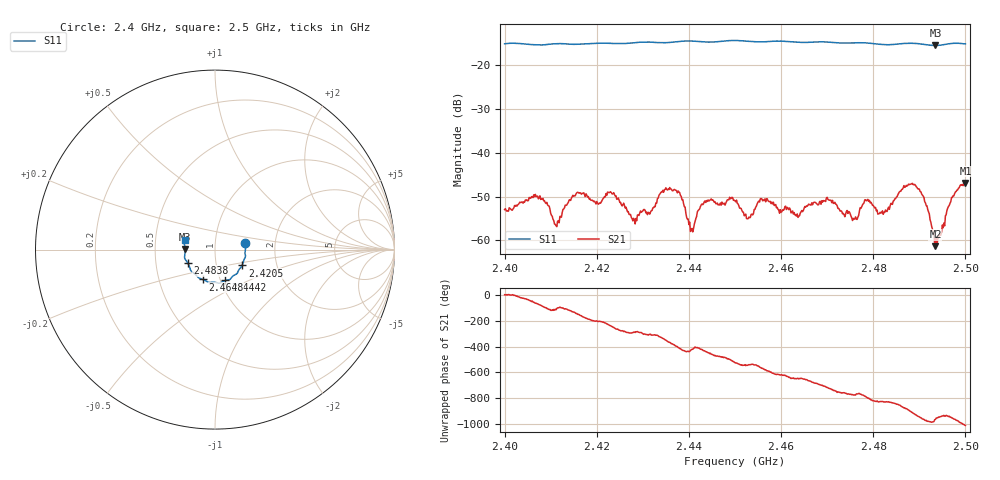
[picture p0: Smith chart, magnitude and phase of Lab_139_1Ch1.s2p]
# Hz S RI R 50
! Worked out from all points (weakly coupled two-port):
!   601 points, 2.4 GHz to 2.5 GHz, reference 50 ohm
!   highest |S21| = -46.88 dB at 2.5 GHz (marker M1); lowest = -61.3 dB at 2.4935 GHz (marker M2)
!   lowest |S11| = -15.6 dB at 2.4935 GHz (marker M3), VSWR 1.40, Z = 35.8 + j0.128 ohm
!   |S11| at or under -10 dB: start of sweep to end of sweep
!   S12 and S22 are empty: the file has one direction only
!   S11 on the Smith chart (normalised r, x): 2.4 GHz: 1.40, +0.11; 2.4205 GHz: 1.33, -0.24; 2.4442 GHz: 1.05, -0.37; 2.4648 GHz: 0.83, -0.28; 2.4838 GHz: 0.73, -0.11; 2.5 GHz: 0.71, +0.08
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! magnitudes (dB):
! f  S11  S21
! 2.4 GHz  -15.2  -53.0
! 2.4072 GHz  -15.5  -49.9
! 2.4113 GHz  -15.2  -56.8
! 2.4167 GHz  -15.3  -49.5
! 2.4205 GHz  -15.1  -51.6
! 2.4233 GHz  -15.1  -49.4
! 2.4282 GHz  -15.0  -55.3
! 2.4333 GHz  -15.0  -50.3
! 2.4375 GHz  -14.7  -49.2
! 2.4405 GHz  -14.6  -57.7
! 2.4442 GHz  -14.8  -50.8
! 2.45 GHz  -14.5  -51.0
! 2.4528 GHz  -14.7  -55.0
! 2.456 GHz  -14.8  -51.0
! 2.4648 GHz  -14.9  -53.2
! 2.4667 GHz  -14.9  -51.4
! 2.476 GHz  -15.0  -55.1
! 2.4833 GHz  -15.4  -52.4
! 2.4838 GHz  -15.4  -51.6
! 2.489 GHz  -15.1  -47.2
! 2.4935 GHz  -15.6  -61.3
! 2.5 GHz  -15.3  -46.9
